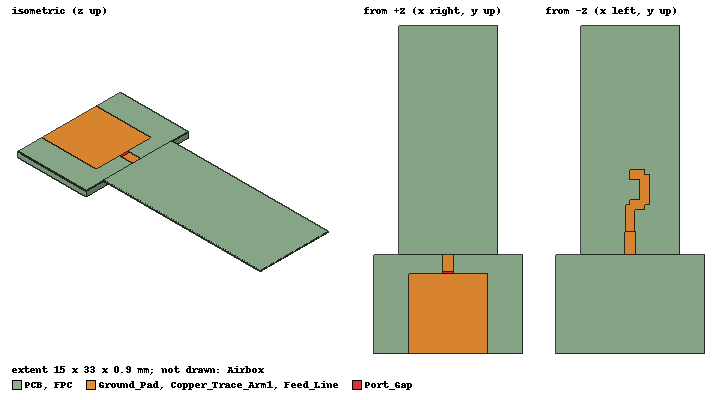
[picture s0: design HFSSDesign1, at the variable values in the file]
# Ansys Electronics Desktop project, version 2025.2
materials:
  vacuum: permittivity=1
  FR4_epoxy: permittivity=4.4 dielectric_loss_tangent=0.02
  polyimide: permittivity=3.4 dielectric_loss_tangent=0.0027
  PTFE: permittivity=2.1 permeability=1.0000004 dielectric_loss_tangent=0.0002

design HFSSDesign1 (HFSS, HFSS Modal Network, model units mm)
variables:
  fmin = 5.3GHz
  fmax = 6GHz
  pcb_L = 15mm
  pcb_W = 10mm
  pcb_h = 0.8mm
  cu_t = 0.035mm
  fpc_L = 23mm
  fpc_W = 10mm
  fpc_h = 0.1mm
  arm_L = 11.5mm
  arm_W = 1mm
  arm_gap = 1.5mm
  arm_ang = 90deg
  feed_L = 4mm
  feed_W = 1.2mm
  gnd_L = 8mm
  gnd_W = 8mm
  coax_pin_r = 0.3mm
  coax_diel_r = 0.95mm
  coax_outer_r = 1.15mm
  coax_L = 15mm
  abs_t = 0.8mm
  air_gap = 15mm
  fo = 5.65GHz
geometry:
  PCB [FR4_epoxy] = box(corner=(-pcb_L/2, -pcb_W/2, 0mm), size=(pcb_L, pcb_W, pcb_h))
  FPC [polyimide] = box(corner=(-fpc_W/2, pcb_W/2, pcb_h), size=(fpc_W, fpc_L, fpc_h))
  Feed_Line = rectangle(corner=(-feed_W/2, 3.3mm, pcb_h), x_size=feed_W, y_size=feed_L)
  Airbox [vacuum] = box(corner=(-30mm, -30mm, -40mm), size=(60mm, 68mm, 65.8mm))
  Port_Gap = rectangle(corner=(-0.6mm, 3mm, 0.8mm), x_size=1.2mm, y_size=0.3mm)
  Ground_Pad = rectangle(corner=(-4mm, -5mm, 0.8mm), x_size=8mm, y_size=8mm)
  Copper_Trace_Arm1 = rectangle(corner=(-0.5mm, 7mm, 0.8mm), x_size=1mm, y_size=3mm)
  Rectangle2 = rectangle(corner=(-1.5mm, 9.5mm, 0.8mm), x_size=1.5mm, y_size=1mm)
  Rectangle3 = rectangle(corner=(-2mm, 10mm, 0.8mm), x_size=1mm, y_size=3mm)
  Rectangle4 = rectangle(corner=(-1.5mm, 12.5mm, 0.8mm), x_size=1.5mm, y_size=1mm)
  Copper_Trace_Arm1.unite(Rectangle2, Rectangle3, Rectangle4)
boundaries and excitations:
  Copper_Feed_Line: Finite Conductivity Objects=Feed_Line Conductivity=58000000 Permeability=1 IsInternal
  Rad1: Radiation Objects=Airbox
  Copper: Finite Conductivity Objects=Ground_Pad Conductivity=58000000 Permeability=1 IsInternal
  Copper_Arm1: Finite Conductivity Objects=Copper_Trace_Arm1 Conductivity=58000000 Permeability=1 IsInternal
  1: Lumped Port Objects=Port_Gap LumpedPortType=Modal Modes{Mode1{IntLine{(0, 3, 0.8) -> (0, 3.3, 0.8)} CharImp=Zpi}} Impedance=50ohm
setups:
  Setup1: HfssDriven Frequency=5.65GHz MaxDeltaS=0.02 MaximumPasses=8 MinimumPasses=1 MinimumConvergedPasses=1 PercentRefinement=30 BasisOrder=1 PortAccuracy=2 DrivenSolverType="Direct Solver"
    sweep Sweep: 4GHz to 8GHz, 401 points; Type=Interpolating InterpTolerance=0.5 InterpMaxSolns=250 InterpUsePortImped=false PassivityErrorTolerance=0.0001
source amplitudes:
  1:1: 1W 0deg
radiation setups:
  Infinite Sphere1: Infinite Sphere Theta=0deg..360deg step 2deg Phi=0deg..180deg step 2deg
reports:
  S Parameter Plot1: dB(S(1,1)) vs Freq on Setup1 : Sweep [arm_L=all]; markers m1 at 6GHz
  Gain Plot1: GainTotal vs Phi, Theta on Setup1 : LastAdaptive, Infinite Sphere1 [Freq=5.65GHz arm_L=11.5mm]
  Gain Plot2: max(GainTotal) vs Phi on Setup1 : LastAdaptive, Infinite Sphere1 [Theta=all Freq=5.65GHz arm_L=all]
  S Parameter Plot2: dB(S(1,1)) vs Freq on Setup1 : Sweep
